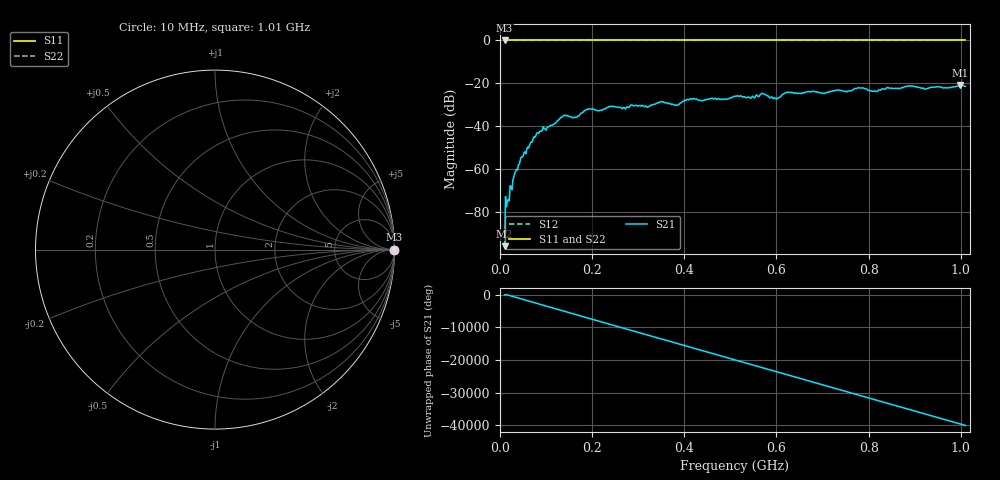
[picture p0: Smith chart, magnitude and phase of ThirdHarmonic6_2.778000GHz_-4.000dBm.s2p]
! 8/17/2025 7:06:23 AM
! C:\ANRITSUVNA\TEMP\TEMP.S2P
! CHANNEL.1
! TR.MEASUREMENT
! RAW.DATA
! RF.CORRECTION.OFF
! AVERAGING.OFF
! IF.BANDWIDTH: 5KHZ
! SWEEPTYPE:  FREQ.SWEEP(Linear)
! Reference Plane Port Info
! PORT:  PORT1  PORT2
! DISTANCE:  0  m  0  m
! TIME:  0  s  0  s
! PHASE.OFFSET:  0  deg.  0  deg.
! LOSS:  0  dB  0  dB
! REF.LOSS:  0  dB  0  dB
! REF.FREQ:  0  Hz  0  Hz
! Power Info
! POWER:  -20  dBm  -20  dBm
! EFF.POWER:  -20  dBm  -20  dBm
! SOURCE.ATTEN:  0  dB  0  dB
! TEST.ATTEN:  0  dB  0  dB
# GHZ S RI R 50.0
! FREQ.GHZ  S11RE  S11IM  S21RE  S21IM  S12RE  S12IM  S22RE  S22IM
!; PortSelection: Port_12
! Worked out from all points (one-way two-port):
!   501 points, 10 MHz to 1.01 GHz, reference 50 ohm
!   highest |S21| = -20.82 dB at 998 MHz (marker M1); lowest = -96.1 dB at 10 MHz (marker M2)
!   lowest |S11| = 0.0 dB at 10 MHz (marker M3)
!   |S11| at or under -10 dB: nowhere
!   |S22| runs from 0.0 to 0.0 dB; largest |S21 - S12| = 1.1
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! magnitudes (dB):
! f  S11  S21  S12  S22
! 10 MHz  0.0  -96.1  0.0  0.0
! 18 MHz  0.0  -74.2  0.0  0.0
! 32 MHz  0.0  -61.9  0.0  0.0
! 44 MHz  0.0  -55.8  0.0  0.0
! 78 MHz  0.0  -44.4  0.0  0.0
! 136 MHz  0.0  -35.6  0.0  0.0
! 162 MHz  0.0  -35.8  0.0  0.0
! 178 MHz  0.0  -33.8  0.0  0.0
! 192 MHz  0.0  -32.0  0.0  0.0
! 322 MHz  0.0  -31.0  0.0  0.0
! 344 MHz  0.0  -29.2  0.0  0.0
! 382 MHz  0.0  -30.1  0.0  0.0
! 416 MHz  0.0  -27.4  0.0  0.0
! 510 MHz  0.0  -26.1  0.0  0.0
! 570 MHz  0.0  -24.7  0.0  0.0
! 598 MHz  0.0  -27.1  0.0  0.0
! 622 MHz  0.0  -24.3  0.0  0.0
! 678 MHz  0.0  -23.8  0.0  0.0
! 814 MHz  0.0  -23.6  0.0  0.0
! 844 MHz  0.0  -22.2  0.0  0.0
! 998 MHz  0.0  -20.8  0.0  0.0
! 1.01 GHz  0.0  -21.4  0.0  0.0
